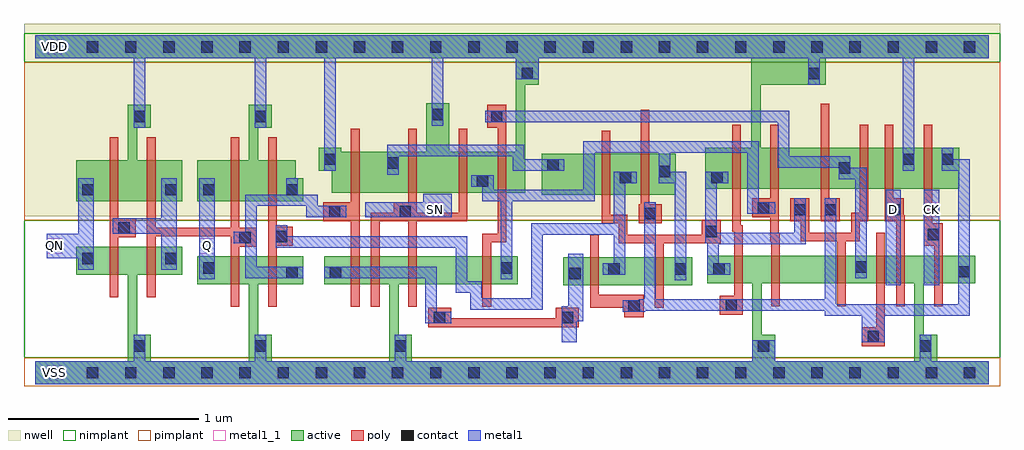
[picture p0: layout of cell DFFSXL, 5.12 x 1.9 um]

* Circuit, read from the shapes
.subckt DFFSXL CK D Q QN SN VDD VSS
M1 VSS n1 QN VSS nfet w=0.145u l=0.045u
M2 n1 n2 VSS VSS nfet w=0.145u l=0.045u
M3 VSS n2 Q VSS nfet w=0.145u l=0.045u
M4 n2 n3 VSS VSS nfet w=0.145u l=0.045u
M5 n4 n2 n5 VSS nfet w=0.145u l=0.045u
M6 VSS SN n4 VSS nfet w=0.145u l=0.045u
M7 n6 SN VSS VSS nfet w=0.145u l=0.045u
M8 n7 n8 n6 VSS nfet w=0.145u l=0.045u
M9 n3 n9 n5 VSS nfet w=0.145u l=0.045u
M10 n7 n10 n3 VSS nfet w=0.145u l=0.045u
M11 VSS n9 n10 VSS nfet w=0.145u l=0.045u
M12 n11 n7 VSS VSS nfet w=0.145u l=0.045u
M13 n8 n10 n11 VSS nfet w=0.145u l=0.045u
M14 n12 n9 n8 VSS nfet w=0.145u l=0.045u
M15 VSS D n12 VSS nfet w=0.145u l=0.045u
M16 n9 CK VSS VSS nfet w=0.145u l=0.045u
M17 VDD n1 QN VDD pfet w=0.215u l=0.045u
M18 n1 n2 VDD VDD pfet w=0.215u l=0.045u
M19 VDD n2 Q VDD pfet w=0.215u l=0.045u
M20 n2 n3 VDD VDD pfet w=0.215u l=0.045u
M21 n13 n2 VDD VDD pfet w=0.215u l=0.045u
M22 VDD SN n13 VDD pfet w=0.215u l=0.045u
M23 n7 SN VDD VDD pfet w=0.215u l=0.045u
M24 VDD n8 n7 VDD pfet w=0.215u l=0.045u
M25 n3 n10 n13 VDD pfet w=0.215u l=0.045u
M26 n7 n9 n3 VDD pfet w=0.215u l=0.045u
M27 VDD n9 n10 VDD pfet w=0.215u l=0.045u
M28 n14 n7 VDD VDD pfet w=0.215u l=0.045u
M29 n8 n9 n14 VDD pfet w=0.215u l=0.045u
M30 n15 n10 n8 VDD pfet w=0.215u l=0.045u
M31 VDD D n15 VDD pfet w=0.215u l=0.045u
M32 n9 CK VDD VDD pfet w=0.215u l=0.045u
.ends

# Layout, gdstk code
import gdstk
lib = gdstk.Library(unit=1e-6, precision=5e-10)
def R(c, l, rs):  # rectangles x0, y0, x1, y1
    for r in rs: c.add(gdstk.rectangle(r[:2], r[2:], *l))
def A(c, l, x, y, w, h, nx, ny, dx, dy):  # array of equal rectangles
    R(c, l, [(x+i*dx, y+j*dy, x+i*dx+w, y+j*dy+h) for i in range(nx) for j in range(ny)])
def P(c, l, *ps):  # polygons
    for p in ps: c.add(gdstk.Polygon(p, *l))
active = (1, 0)
nwell = (2, 0)
poly = (3, 0)
nimplant = (4, 0)
pimplant = (5, 0)
contact = (6, 0)
metal1 = (7, 0)
metal1_1 = (7, 1)

dffsxl = lib.new_cell('DFFSXL')
R(dffsxl, active, [(2.77,0.46,3.445,0.605), (2.655,0.935,3.36,1.15)])
P(dffsxl, active, [(0,1.77),(5,1.77),(5,1.65),(4.145,1.65),(4.145,1.51),(3.805,1.51),(3.805,1.18),(4.845,1.18),(4.845,0.965),(3.515,0.965),(3.515,1.18),(3.755,1.18),(3.755,1.65),(2.64,1.65),(2.64,1.51),(2.57,1.51),(2.57,0.945),(1.555,0.945),(1.555,1.06),(1.485,1.06),(1.485,1.18),(1.605,1.18),(1.605,1.16),(2.05,1.16),(2.05,1.415),(2.17,1.415),(2.17,1.16),(2.52,1.16),(2.52,1.65),(0,1.65)],
  [(0.485,1.405),(0.605,1.405),(0.605,1.285),(0.535,1.285),(0.535,1.115),(0.77,1.115),(0.77,0.9),(0.215,0.9),(0.215,1.115),(0.485,1.115)],
  [(1.12,1.405),(1.24,1.405),(1.24,1.285),(1.17,1.285),(1.17,1.115),(1.365,1.115),(1.365,1.02),(1.405,1.02),(1.405,0.9),(0.85,0.9),(0.85,1.115),(1.12,1.115)],
  [(0.215,0.66),(0.77,0.66),(0.77,0.515),(0.535,0.515),(0.535,0.2),(0.605,0.2),(0.605,0.06),(1.12,0.06),(1.12,0.465),(0.85,0.465),(0.85,0.61),(1.405,0.61),(1.405,0.465),(1.17,0.465),(1.17,0.2),(1.24,0.2),(1.24,0.06),(1.855,0.06),(1.855,0.465),(1.515,0.465),(1.515,0.61),(2.53,0.61),(2.53,0.465),(1.905,0.465),(1.905,0.2),(1.975,0.2),(1.975,0.06),(3.76,0.06),(3.76,0.47),(3.81,0.47),(3.81,0.2),(3.88,0.2),(3.88,0.06),(4.61,0.06),(4.61,0.47),(3.525,0.47),(3.525,0.615),(4.93,0.615),(4.93,0.47),(4.66,0.47),(4.66,0.2),(4.73,0.2),(4.73,0.06),(5,0.06),(5,-0.06),(0,-0.06),(0,0.06),(0.485,0.06),(0.485,0.515),(0.215,0.515)])
R(dffsxl, nwell, [(-0.06,0.82,5.06,1.83)])
P(dffsxl, poly, [(0.39,1.235),(0.435,1.235),(0.435,0.81),(0.525,0.81),(0.525,0.71),(0.435,0.71),(0.435,0.395),(0.39,0.395)],
  [(0.585,1.235),(0.63,1.235),(0.63,0.76),(1.025,0.76),(1.025,1.235),(1.07,1.235),(1.07,0.76),(1.16,0.76),(1.16,0.66),(1.07,0.66),(1.07,0.345),(1.025,0.345),(1.025,0.715),(0.63,0.715),(0.63,0.395),(0.585,0.395)],
  [(1.22,1.235),(1.265,1.235),(1.265,0.765),(1.35,0.765),(1.35,0.665),(1.265,0.665),(1.265,0.345),(1.22,0.345)],
  [(1.655,1.28),(1.7,1.28),(1.7,0.345),(1.655,0.345),(1.655,0.795),(1.51,0.795),(1.51,0.895),(1.655,0.895)],
  [(1.955,1.28),(2,1.28),(2,0.84),(2.22,0.84),(2.22,1.28),(2.265,1.28),(2.265,0.795),(2,0.795),(2,0.345),(1.955,0.345),(1.955,0.795),(1.805,0.795),(1.805,0.345),(1.76,0.345),(1.76,0.84),(1.88,0.84),(1.88,0.895),(1.955,0.895)],
  [(2.37,1.405),(2.47,1.405),(2.47,0.685),(2.39,0.685),(2.39,0.345),(2.345,0.345),(2.345,0.73),(2.425,0.73),(2.425,1.285),(2.37,1.285)],
  [(2.97,1.27),(3.015,1.27),(3.015,0.83),(3.105,0.83),(3.105,0.725),(3.495,0.725),(3.495,0.8),(3.595,0.8),(3.595,0.68),(3.295,0.68),(3.295,0.34),(3.25,0.34),(3.25,0.68),(3.06,0.68),(3.06,0.785),(2.97,0.785)],
  [(3.175,1.38),(3.22,1.38),(3.22,0.885),(3.285,0.885),(3.285,0.785),(3.165,0.785),(3.165,0.885),(3.175,0.885)],
  [(3.655,1.3),(3.7,1.3),(3.7,0.775),(3.71,0.775),(3.71,0.305),(3.59,0.305),(3.59,0.405),(3.665,0.405),(3.665,0.74),(3.655,0.74)],
  [(3.855,1.3),(3.9,1.3),(3.9,0.735),(3.905,0.735),(3.905,0.35),(3.86,0.35),(3.86,0.69),(3.855,0.69),(3.855,0.815),(3.76,0.815),(3.76,0.915),(3.855,0.915)],
  [(4.12,1.41),(4.165,1.41),(4.165,0.915),(4.22,0.915),(4.22,0.795),(4.12,0.795)],
  [(3.96,0.915),(4.06,0.915),(4.06,0.735),(4.28,0.735),(4.28,0.84),(4.325,0.84),(4.325,1.3),(4.37,1.3),(4.37,0.795),(4.325,0.795),(4.325,0.69),(4.25,0.69),(4.25,0.35),(4.205,0.35),(4.205,0.69),(4.015,0.69),(4.015,0.795),(3.96,0.795)],
  [(4.455,1.3),(4.5,1.3),(4.5,0.915),(4.555,0.915),(4.555,0.825),(4.56,0.825),(4.56,0.35),(4.515,0.35),(4.515,0.795),(4.455,0.795)],
  [(4.66,1.3),(4.705,1.3),(4.705,0.785),(4.76,0.785),(4.76,0.35),(4.715,0.35),(4.715,0.665),(4.66,0.665)],
  [(2.91,0.725),(2.955,0.725),(2.955,0.41),(3.19,0.41),(3.19,0.29),(3.09,0.29),(3.09,0.34),(2.91,0.34)],
  [(4.41,0.735),(4.455,0.735),(4.455,0.14),(4.335,0.14),(4.335,0.24),(4.41,0.24)],
  [(2.06,0.34),(2.18,0.34),(2.18,0.285),(2.73,0.285),(2.73,0.34),(2.85,0.34),(2.85,0.24),(2.06,0.24)])
R(dffsxl, nimplant, [(-0.06,0.08,5.06,0.8), (-0.06,1.63,5.06,1.78)])
R(dffsxl, pimplant, [(-0.06,-0.07,5.06,0.08), (-0.06,0.8,5.06,1.63)])
A(dffsxl, contact, 0.07, -0.03, 0.06, 0.06, 25, 2, 0.2, 1.71)
R(dffsxl, contact, [(0.515,0.11,0.575,0.17), (1.15,0.11,1.21,0.17), (1.885,0.11,1.945,0.17), (3.79,0.11,3.85,0.17), (4.64,0.11,4.7,0.17), (4.365,0.16,4.425,0.22), (2.09,0.26,2.15,0.32), (2.76,0.26,2.82,0.32), (3.11,0.32,3.17,0.38), (3.62,0.325,3.68,0.385), (2.8,0.49,2.86,0.55), (1.315,0.495,1.375,0.555), (1.545,0.495,1.605,0.555), (4.84,0.5,4.9,0.56), (3.005,0.515,3.065,0.575), (3.355,0.515,3.415,0.575), (3.555,0.515,3.615,0.575), (0.88,0.52,0.94,0.58), (2.44,0.52,2.5,0.58), (4.3,0.525,4.36,0.585), (0.245,0.57,0.305,0.63), (0.68,0.57,0.74,0.63), (1.07,0.68,1.13,0.74), (1.26,0.685,1.32,0.745), (4.68,0.695,4.74,0.755), (3.515,0.71,3.575,0.77), (0.435,0.73,0.495,0.79), (3.195,0.805,3.255,0.865), (1.54,0.815,1.6,0.875), (1.91,0.815,1.97,0.875), (3.98,0.825,4.04,0.885), (4.14,0.825,4.2,0.885), (4.475,0.825,4.535,0.885), (3.79,0.835,3.85,0.895), (0.245,0.93,0.305,0.99), (0.68,0.93,0.74,0.99), (0.88,0.93,0.94,0.99), (1.315,0.93,1.375,0.99), (2.315,0.975,2.375,1.035), (3.065,0.995,3.125,1.055), (3.545,0.995,3.605,1.055), (3.27,1.025,3.33,1.085), (4.215,1.045,4.275,1.105), (2.685,1.06,2.745,1.12), (1.845,1.07,1.905,1.13), (1.515,1.09,1.575,1.15), (4.55,1.09,4.61,1.15), (4.755,1.09,4.815,1.15), (0.515,1.315,0.575,1.375), (1.15,1.315,1.21,1.375), (2.39,1.315,2.45,1.375), (2.08,1.325,2.14,1.385), (2.55,1.54,2.61,1.6), (4.055,1.54,4.115,1.6)])
R(dffsxl, metal1, [(4.46,0.46,4.54,0.96), (4.66,0.46,4.74,0.96), (0.86,0.49,0.94,1.02)])
P(dffsxl, metal1, [(0,1.77),(5,1.77),(5,1.65),(4.61,1.65),(4.61,1.06),(4.55,1.06),(4.55,1.65),(4.115,1.65),(4.115,1.51),(4.055,1.51),(4.055,1.65),(2.64,1.65),(2.64,1.54),(2.52,1.54),(2.52,1.65),(2.14,1.65),(2.14,1.295),(2.08,1.295),(2.08,1.65),(1.575,1.65),(1.575,1.06),(1.515,1.06),(1.515,1.65),(1.21,1.65),(1.21,1.285),(1.15,1.285),(1.15,1.65),(0.575,1.65),(0.575,1.285),(0.515,1.285),(0.515,1.65),(0,1.65)],
  [(2.36,1.375),(3.955,1.375),(3.955,1.135),(4.275,1.135),(4.275,1.075),(4.36,1.075),(4.36,0.495),(4.3,0.495),(4.3,1.015),(4.215,1.015),(4.215,1.075),(3.895,1.075),(3.895,1.315),(2.36,1.315)],
  [(2.875,1.215),(3.795,1.215),(3.795,0.895),(3.88,0.895),(3.88,0.835),(3.735,0.835),(3.735,1.155),(3.33,1.155),(3.33,1.055),(3.415,1.055),(3.415,0.485),(3.355,0.485),(3.355,0.995),(3.27,0.995),(3.27,1.155),(2.935,1.155),(2.935,0.9),(2.5,0.9),(2.5,0.49),(2.44,0.49),(2.44,0.9),(2.345,0.9),(2.345,0.975),(2.285,0.975),(2.285,1.035),(2.405,1.035),(2.405,0.96),(2.875,0.96)],
  [(1.845,1.195),(2.565,1.195),(2.565,1.12),(2.775,1.12),(2.775,1.06),(2.505,1.06),(2.505,1.135),(1.905,1.135),(1.905,1.04),(1.845,1.04)],
  [(0.225,1.02),(0.305,1.02),(0.305,0.54),(0.225,0.54),(0.225,0.6),(0.06,0.6),(0.06,0.73),(0.225,0.73)],
  [(0.66,1.02),(0.74,1.02),(0.74,0.54),(0.66,0.54),(0.66,0.73),(0.405,0.73),(0.405,0.81),(0.66,0.81)],
  [(1.315,1.02),(1.375,1.02),(1.375,0.935),(1.48,0.935),(1.48,0.875),(1.63,0.875),(1.63,0.815),(1.42,0.815),(1.42,0.875),(1.16,0.875),(1.16,0.555),(1.405,0.555),(1.405,0.495),(1.1,0.495),(1.1,0.68),(1.04,0.68),(1.04,0.74),(1.1,0.74),(1.1,0.935),(1.315,0.935)],
  [(3.035,1.055),(3.155,1.055),(3.155,0.995),(3.095,0.995),(3.095,0.515),(2.975,0.515),(2.975,0.575),(3.035,0.575),(3.035,0.725),(2.66,0.725),(2.66,0.33),(2.28,0.33),(2.28,0.42),(2.205,0.42),(2.205,0.655),(1.26,0.655),(1.26,0.775),(1.32,0.775),(1.32,0.715),(2.265,0.715),(2.265,0.48),(2.34,0.48),(2.34,0.39),(2.6,0.39),(2.6,0.785),(3.035,0.785)],
  [(2.035,0.94),(2.185,0.94),(2.185,0.815),(1.73,0.815),(1.73,0.895),(2.035,0.895)],
  [(1.515,0.555),(2.105,0.555),(2.105,0.32),(2.18,0.32),(2.18,0.26),(2.045,0.26),(2.045,0.495),(1.515,0.495)],
  [(3.515,1.055),(3.635,1.055),(3.635,0.995),(3.575,0.995),(3.575,0.735),(3.98,0.735),(3.98,0.915),(4.04,0.915),(4.04,0.675),(3.585,0.675),(3.585,0.575),(3.645,0.575),(3.645,0.515),(3.525,0.515),(3.525,0.68),(3.515,0.68)],
  [(2.795,0.625),(2.875,0.625),(2.875,0.27),(2.84,0.27),(2.84,0.16),(2.76,0.16),(2.76,0.35),(2.795,0.35)],
  [(4.755,1.18),(4.815,1.18),(4.815,1.12),(4.9,1.12),(4.9,0.3),(4.455,0.3),(4.455,0.16),(4.335,0.16),(4.335,0.3),(4.14,0.3),(4.14,0.325),(3.2,0.325),(3.2,0.32),(3.08,0.32),(3.08,0.38),(3.165,0.38),(3.165,0.385),(3.195,0.385),(3.195,0.895),(3.255,0.895),(3.255,0.385),(4.14,0.385),(4.14,0.915),(4.2,0.915),(4.2,0.36),(4.84,0.36),(4.84,1.06),(4.755,1.06)],
  [(0.515,0.2),(0.575,0.2),(0.575,0.06),(1.15,0.06),(1.15,0.2),(1.21,0.2),(1.21,0.06),(1.885,0.06),(1.885,0.2),(1.945,0.2),(1.945,0.06),(3.76,0.06),(3.76,0.17),(3.88,0.17),(3.88,0.06),(4.64,0.06),(4.64,0.2),(4.7,0.2),(4.7,0.06),(5,0.06),(5,-0.06),(0,-0.06),(0,0.06),(0.515,0.06)])
R(dffsxl, metal1_1, [(0.06,-0.04,0.14,0.04), (0.06,0.625,0.14,0.705), (0.86,0.625,0.94,0.705), (2.06,0.815,2.14,0.895), (4.46,0.815,4.54,0.895), (4.66,0.815,4.74,0.895), (0.06,1.67,0.14,1.75)])
dffsxl.add(gdstk.Label('Q', (0.9,0.665), layer=7, texttype=1))
dffsxl.add(gdstk.Label('QN', (0.1,0.665), layer=7, texttype=1))
dffsxl.add(gdstk.Label('CK', (4.7,0.855), layer=7, texttype=1))
dffsxl.add(gdstk.Label('D', (4.5,0.855), layer=7, texttype=1))
dffsxl.add(gdstk.Label('SN', (2.1,0.855), layer=7, texttype=1))
dffsxl.add(gdstk.Label('VDD', (0.1,1.71), layer=7, texttype=1))
dffsxl.add(gdstk.Label('VSS', (0.1,0), layer=7, texttype=1))
dffsxl.add(gdstk.Label('DFFSXL', (0,0), layer=63, texttype=0))

lib.write_gds('DFFSXL.gds')
